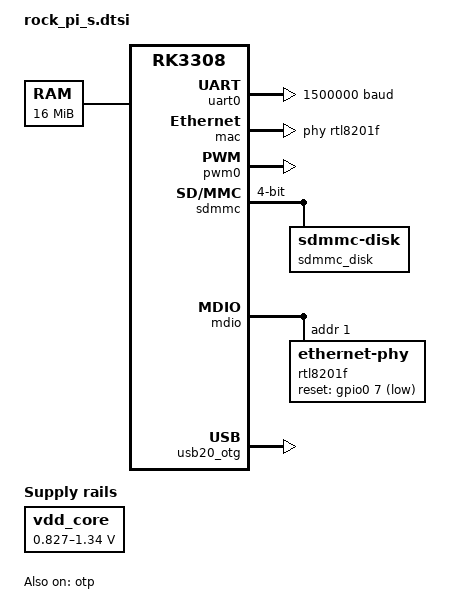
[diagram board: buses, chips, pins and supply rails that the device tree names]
/*
 * Copyright (c) 2026 Jiri Kastner <cz172638@gmail.com>
 *
 * SPDX-License-Identifier: Apache-2.0
 */

#include <rockchip/rk3308.dtsi>
#include <zephyr/dt-bindings/gpio/gpio.h>
#include <zephyr/dt-bindings/pinctrl/rk3308-pinctrl.h>
#include <zephyr/dt-bindings/pwm/pwm.h>

/ {
	compatible = "radxa,rock-pi-s", "rockchip,rk3308";

	vdd_core: regulator-vdd-core {
		compatible = "pwm-regulator";
		pwms = <&pwm0 0 PWM_NSEC(5000) PWM_POLARITY_INVERTED>;
		regulator-name = "vdd_core";
		regulator-min-microvolt = <827000>;
		regulator-max-microvolt = <1340000>;
		regulator-settling-time-up-us = <250>;
		regulator-always-on;
		regulator-boot-on;
	};

	chosen {
		zephyr,sram = &sram0;
		zephyr,console = &uart0;
		zephyr,shell-uart = &uart0;
	};

	/*
	 * DDR layout when booting straight from BL31 (ROCK Pi S, 256 MiB min):
	 *   0x00000000-0x000fffff BL31, DDR firewall region 0 (secure)
	 *   0x02000000-0x02ffffff Zephyr (below)
	 * No OP-TEE and no U-Boot proper are loaded.
	 */
	sram0: memory@2000000 {
		device_type = "memory";
		reg = <0x02000000 DT_SIZE_M(16)>;
	};

	/* Informational: BL31's secure carve-out, kept clear of Zephyr */
	reserved-memory {
		#address-cells = <1>;
		#size-cells = <1>;
		ranges;

		bl31@0 {
			reg = <0x00000000 DT_SIZE_M(1)>;
			no-map;
		};
	};
};

&pinctrl {
	pwm0_default: pwm0-default {
		group1 {
			pinmux = <PWM0>;
			bias-disable;
		};
	};

	/* micro SD: no pull-ups on the board, card detect on GPIO0_A3 */
	sdmmc_default: sdmmc-default {
		group1 {
			pinmux = <SDMMC_D0>, <SDMMC_D1>, <SDMMC_D2>, <SDMMC_D3>, <SDMMC_CMD>,
				 <SDMMC_DET>;
			bias-pull-up;
		};

		group2 {
			pinmux = <SDMMC_CLK>;
			bias-disable;
		};
	};

	uart0_default: uart0-default {
		group1 {
			pinmux = <UART0_RX_M0>, <UART0_TX_M0>;
		};
	};

	/* header pins 23 (RX) and 24 (TX) */
	uart1_default: uart1-default {
		group1 {
			pinmux = <UART1_RX>, <UART1_TX>;
		};
	};

	/* header pins 21 (RX) and 19 (TX) */
	uart2_default: uart2-default {
		group1 {
			pinmux = <UART2_RX_M0>, <UART2_TX_M0>;
		};
	};

	/* header pins 40 (RX) and 39 (TX) */
	uart3_default: uart3-default {
		group1 {
			pinmux = <UART3_RX_M0>, <UART3_TX_M0>;
		};
	};
};

&uart0 {
	status = "okay";
	current-speed = <1500000>;
	pinctrl-0 = <&uart0_default>;
	pinctrl-names = "default";
};

&gpio0 {
	status = "okay";
};

/* RTL8201F on RMII, 50 MHz reference generated by the SoC */
&mac {
	status = "okay";
	clock-in-out = "output";
	phy-handle = <&rtl8201f>;
};

/*
 * vdd_core (CPU cores): buck set by PWM0 (inverted, 200 kHz), 0.827 V to
 * 1.34 V, as in the Linux devicetree. Until a voltage is set the pin stays
 * a GPIO input and the buck runs at its strapped voltage.
 */
&pwm0 {
	pinctrl-0 = <&pwm0_default>;
	pinctrl-names = "default";
	status = "okay";
};

&sdmmc {
	pinctrl-0 = <&sdmmc_default>;
	pinctrl-names = "default";
	bus-width = <4>;
	status = "okay";

	sdmmc_disk: sdmmc {
		compatible = "zephyr,sdmmc-disk";
		disk-name = "SD";
		status = "okay";
	};
};

/* CPU ID: the MAC address derived from it */
&otp {
	status = "okay";
};

&mdio {
	status = "okay";

	rtl8201f: ethernet-phy@1 {
		compatible = "ethernet-phy";
		reg = <1>;
		/* GPIO0_A7, iomux defaults to GPIO */
		reset-gpios = <&gpio0 7 GPIO_ACTIVE_LOW>;
		reset-assert-us = <20000>;
		reset-deassert-us = <50000>;
		default-speeds = "10BASE Half-Duplex", "10BASE Full-Duplex",
				 "100BASE Half-Duplex", "100BASE Full-Duplex";
	};
};

/* USB-C: OTG port, also the power input */
zephyr_udc0: &usb20_otg {
	status = "okay";
};

